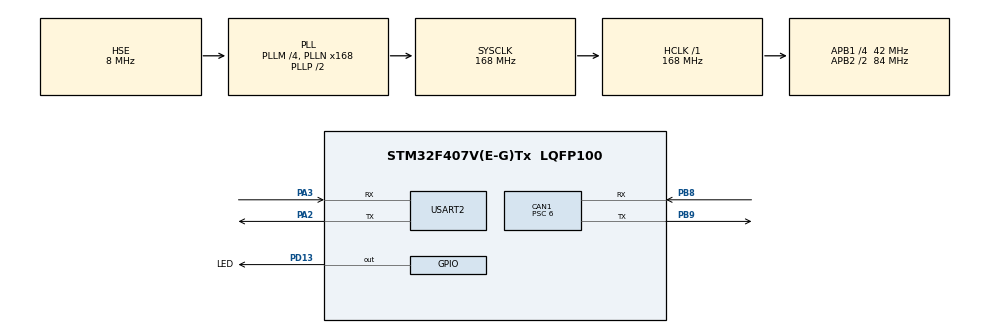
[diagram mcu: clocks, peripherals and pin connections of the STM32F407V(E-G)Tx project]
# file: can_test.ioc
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CAN1.ABOM=ENABLE
CAN1.BS1=CAN_BS1_11TQ
CAN1.BS2=CAN_BS2_2TQ
CAN1.CalculateBaudRate=500000
CAN1.CalculateTimeBit=2000
CAN1.CalculateTimeQuantum=142.85714285714286
CAN1.NART=ENABLE
CAN1.Prescaler=6
Mcu.Family=STM32F4
Mcu.Name=STM32F407V(E-G)Tx
Mcu.Package=LQFP100
NVIC.PriorityGroup=NVIC_PRIORITYGROUP_4
PA13.Mode=Serial_Wire
PA13.Signal=SYS_JTMS-SWDIO
PA14.Mode=Serial_Wire
PA14.Signal=SYS_JTCK-SWCLK
PA2.Mode=Asynchronous
PA2.Signal=USART2_TX
PA3.Mode=Asynchronous
PA3.Signal=USART2_RX
PB8.Mode=CAN_Activate
PB8.Signal=CAN1_RX
PB9.Mode=CAN_Activate
PB9.Signal=CAN1_TX
PC14-OSC32_IN.Mode=LSE-External-Oscillator
PC14-OSC32_IN.Signal=RCC_OSC32_IN
PC15-OSC32_OUT.Mode=LSE-External-Oscillator
PC15-OSC32_OUT.Signal=RCC_OSC32_OUT
PD13.GPIO_Label=LED
PD13.Signal=GPIO_Output
PH0-OSC_IN.Mode=HSE-External-Oscillator
PH0-OSC_IN.Signal=RCC_OSC_IN
PH1-OSC_OUT.Mode=HSE-External-Oscillator
PH1-OSC_OUT.Signal=RCC_OSC_OUT
ProjectManager.HeapSize=0x200
ProjectManager.StackSize=0x400
ProjectManager.TargetToolchain=STM32CubeIDE
RCC.48MHZClocksFreq_Value=84000000
RCC.AHBFreq_Value=168000000
RCC.APB1CLKDivider=RCC_HCLK_DIV4
RCC.APB1Freq_Value=42000000
RCC.APB1TimFreq_Value=84000000
RCC.APB2CLKDivider=RCC_HCLK_DIV2
RCC.APB2Freq_Value=84000000
RCC.APB2TimFreq_Value=168000000
RCC.CortexFreq_Value=168000000
RCC.HCLKFreq_Value=168000000
RCC.HSE_VALUE=8000000
RCC.HSI_VALUE=16000000
RCC.PLLM=4
RCC.PLLN=168
RCC.PLLSourceVirtual=RCC_PLLSOURCE_HSE
RCC.SYSCLKFreq_VALUE=168000000
RCC.SYSCLKSource=RCC_SYSCLKSOURCE_PLLCLK
RCC.VCOOutputFreq_Value=336000000
USART2.VirtualMode=VM_ASYNC
board=custom

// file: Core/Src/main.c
/* USER CODE BEGIN Header */
/**
  ******************************************************************************
  * @file           : main.c
  * @brief          : Main program body
  ******************************************************************************
  * @attention
  *
  * Copyright (c) 2026 STMicroelectronics.
  * All rights reserved.
  *
  * This software is licensed under terms that can be found in the LICENSE file
  * in the root directory of this software component.
  * If no LICENSE file comes with this software, it is provided AS-IS.
  *
  ******************************************************************************
  */
/* USER CODE END Header */
#include "main.h"
#include "can.h"
#include "usart.h"
#include "gpio.h"

void SystemClock_Config(void);

int main(void)
{

  /* MCU Configuration--------------------------------------------------------*/

  /* Reset of all peripherals, Initializes the Flash interface and the Systick. */
  HAL_Init();

  /* Configure the system clock */
  SystemClock_Config();

  /* Initialize all configured peripherals */
  MX_GPIO_Init();
  MX_CAN1_Init();
  MX_USART2_UART_Init();
  /* USER CODE BEGIN 2 */
  CAN_Filter_Config();

  if (HAL_CAN_Start(&hcan1) != HAL_OK)
  {
	  /* Start Error */
	  Error_Handler();
  }
  printf("CAN initialization complete.\r\n");

  CAN_TxMsgTypeDef TxMessage;
  CAN_RxMsgTypeDef RxMessage;
  TxMessage.StdId = 0x321;
  TxMessage.DLC = 8;
  uint8_t txData[8] = {0x01, 0x02, 0x03, 0x04, 0x05, 0x06, 0x07, 0x08};
  for (int i = 0; i < 8; i++)
  {
    TxMessage.Data[i] = txData[i];
  }
  printf("CAN message prepared completely.\r\n");

  HAL_Delay(1000); // Delay for 1 second
  for (int i = 0; i < 8; i++)
		{
  	TxMessage.Data[i] = (TxMessage.Data[i] + 1) % 256; // Increment data and wrap around at 256
		}
  CAN_Send_Msg(&TxMessage);

  HAL_Delay(1000); // Delay for 1 second
  CAN_Receive_Msg(&RxMessage);
  /* USER CODE END 2 */

  /* Infinite loop */
  while (1)
  {

  }
}

void SystemClock_Config(void)
{
  RCC_OscInitTypeDef RCC_OscInitStruct = {0};
  RCC_ClkInitTypeDef RCC_ClkInitStruct = {0};

  /** Configure the main internal regulator output voltage
  */
  __HAL_RCC_PWR_CLK_ENABLE();
  __HAL_PWR_VOLTAGESCALING_CONFIG(PWR_REGULATOR_VOLTAGE_SCALE1);

  /** Initializes the RCC Oscillators according to the specified parameters
  * in the RCC_OscInitTypeDef structure.
  */
  RCC_OscInitStruct.OscillatorType = RCC_OSCILLATORTYPE_HSE;
  RCC_OscInitStruct.HSEState = RCC_HSE_ON;
  RCC_OscInitStruct.PLL.PLLState = RCC_PLL_ON;
  RCC_OscInitStruct.PLL.PLLSource = RCC_PLLSOURCE_HSE;
  RCC_OscInitStruct.PLL.PLLM = 4;
  RCC_OscInitStruct.PLL.PLLN = 168;
  RCC_OscInitStruct.PLL.PLLP = RCC_PLLP_DIV2;
  RCC_OscInitStruct.PLL.PLLQ = 4;
  if (HAL_RCC_OscConfig(&RCC_OscInitStruct) != HAL_OK)
  {
    Error_Handler();
  }

  /** Initializes the CPU, AHB and APB buses clocks
  */
  RCC_ClkInitStruct.ClockType = RCC_CLOCKTYPE_HCLK|RCC_CLOCKTYPE_SYSCLK
                              |RCC_CLOCKTYPE_PCLK1|RCC_CLOCKTYPE_PCLK2;
  RCC_ClkInitStruct.SYSCLKSource = RCC_SYSCLKSOURCE_PLLCLK;
  RCC_ClkInitStruct.AHBCLKDivider = RCC_SYSCLK_DIV1;
  RCC_ClkInitStruct.APB1CLKDivider = RCC_HCLK_DIV4;
  RCC_ClkInitStruct.APB2CLKDivider = RCC_HCLK_DIV2;

  if (HAL_RCC_ClockConfig(&RCC_ClkInitStruct, FLASH_LATENCY_5) != HAL_OK)
  {
    Error_Handler();
  }
}

void Error_Handler(void)
{
  /* USER CODE BEGIN Error_Handler_Debug */
  /* User can add his own implementation to report the HAL error return state */
  __disable_irq();
  while (1)
  {
    printf("Error occurred! Please check the system.\r\n");
  }
  /* USER CODE END Error_Handler_Debug */
}
